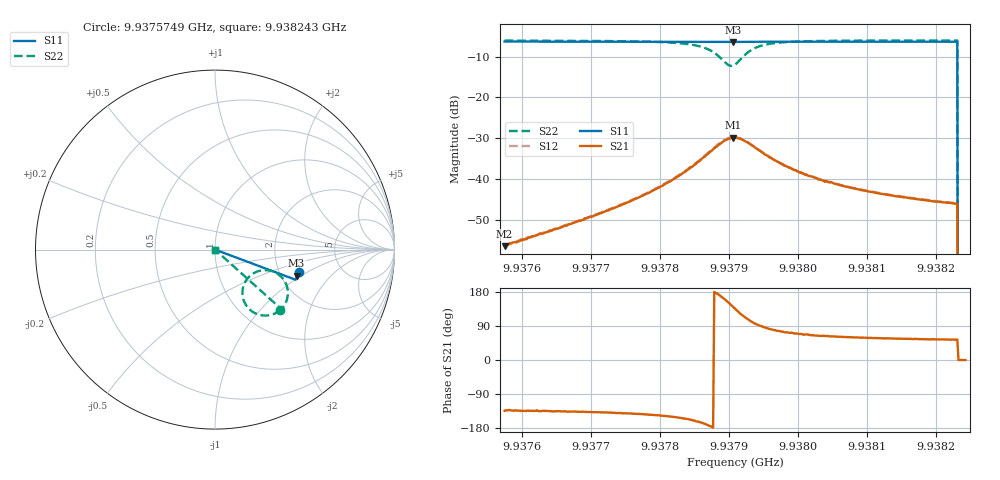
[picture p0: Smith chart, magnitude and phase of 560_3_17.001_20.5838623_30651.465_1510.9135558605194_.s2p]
#  HZ  S  RI  R  50.00
! Rohde & Schwarz Vector Network Analyzer
! Rohde-Schwarz,ZNB20-2Port,1311601062101988,3.16
! Created: UTC 3/20/2024, 11:17:11 PM
! freq[Hz]  re:S11  im:S11  re:S21  im:S21  re:S12  im:S12  re:S22  im:S22
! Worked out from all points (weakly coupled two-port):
!   401 points, 9.9375749 GHz to 9.938243 GHz, reference 50 ohm
!   highest |S21| = -29.91 dB at 9.9379056 GHz (marker M1); lowest = -56.5 dB at 9.9375749 GHz (marker M2)
!   lowest |S11| = -6.4 dB at 9.9379056 GHz (marker M3), VSWR 2.83, Z = 121 - j45.8 ohm
!   |S11| at or under -10 dB: 9.9382314 GHz to end of sweep
!   |S22| runs from - to -6.1 dB; largest |S21 - S12| = 0.0014
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9.9375749e9  0.4656 -0.1264  -0.00104 -0.00107  -0.00106 -0.0011  0.3643 -0.3361
9.93761999e9  0.4645 -0.1296  -0.00141 -0.00145  -0.00144 -0.00143  0.3588 -0.3406
9.93768681e9  0.4629 -0.1339  -0.00226 -0.00215  -0.00232 -0.00216  0.3478 -0.3479
9.93775195e9  0.4612 -0.1385  -0.00395 -0.00322  -0.00403 -0.00322  0.3299 -0.3572
9.93779872e9  0.4598 -0.1417  -0.00644 -0.0044  -0.00669 -0.00435  0.3053 -0.365
9.93783546e9  0.4584 -0.1442  -0.011 -0.00507  -0.0112 -0.00514  0.2674 -0.3671
9.9378672e9  0.4564 -0.1462  -0.0192 -0.00336  -0.0197 -0.00299  0.2024 -0.3414
9.93787889e9  0.4557 -0.1467  -0.0237 0.000146  -0.0242 0.000645  0.1716 -0.3073
9.93789058e9  0.4547 -0.1468  -0.0272 0.00709  -0.0277 0.00818  0.153 -0.2457
9.93789893e9  0.4544 -0.1464  -0.0274 0.014  -0.0275 0.0154  0.1636 -0.1895
9.93790562e9  0.4543 -0.146  -0.0249 0.02  -0.0245 0.0212  0.193 -0.1481
9.93790896e9  0.4544 -0.1459  -0.0229 0.0223  -0.0223 0.0236  0.2135 -0.1327
9.93791731e9  0.4549 -0.1458  -0.016 0.0263  -0.0154 0.0271  0.2711 -0.1145
9.937929e9  0.4557 -0.1465  -0.00751 0.0263  -0.00672 0.0267  0.3387 -0.1292
9.93794737e9  0.4564 -0.1479  0.000227 0.0215  0.000958 0.0215  0.3904 -0.18
9.93797744e9  0.4561 -0.1507  0.004 0.0145  0.00423 0.0147  0.4062 -0.2398
9.93802087e9  0.4551 -0.1542  0.00436 0.00968  0.00454 0.00966  0.4 -0.2808
9.93806763e9  0.4539 -0.1574  0.00396 0.00706  0.00412 0.00705  0.3912 -0.3019
9.93813278e9  0.4522 -0.1616  0.00345 0.00533  0.00356 0.0053  0.3811 -0.318
9.93822798e9  0.4495 -0.168  0.00294 0.00398  0.00304 0.00401  0.3703 -0.3319
9.93823633e9  0 0  0 0  0 0  0 0
9.93824302e9  0 0  0 0  0 0  0 0
